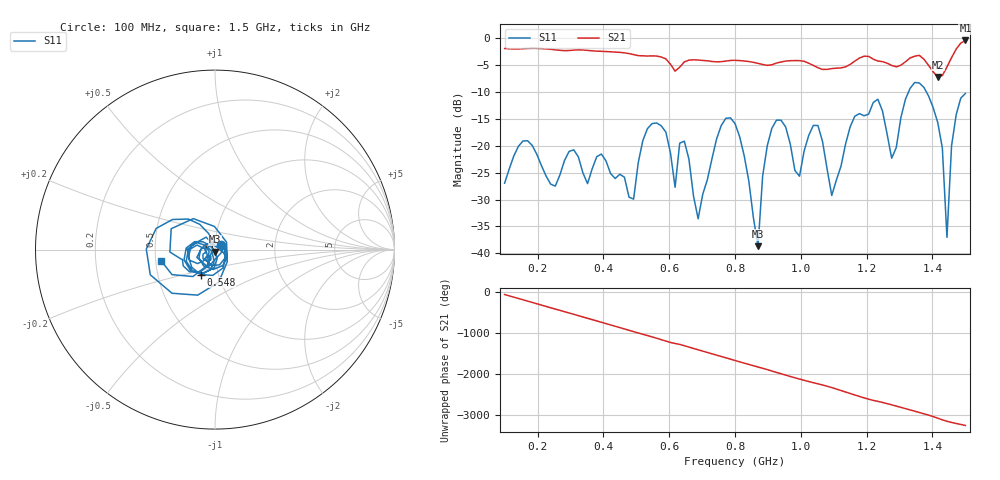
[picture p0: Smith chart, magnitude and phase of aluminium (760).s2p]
! NanoVNA-App
! Date: 2025-09-25 15:01:12
! Start: 100MHz Stop: 1,5GHz Points: 101
! S-Parameter data: F S11 S21 S12 S22
# Hz S RI R 50
!  Frequency  S11_Real  S11_Imag  S21_Real  S21_Imag  S12_Real  S12_Imag  S22_Real  S22_Imag
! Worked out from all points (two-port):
!   101 points, 100 MHz to 1.5 GHz, reference 50 ohm
!   highest |S21| = -0.43 dB at 1.5 GHz (marker M1); lowest = -7.2 dB at 1.416 GHz (marker M2)
!   |S21| within 3 dB of the highest: start of sweep to 570.1 MHz; 1.46 GHz to end of sweep (the widest 2 of 4)
!   lowest |S11| = -38.7 dB at 870 MHz (marker M3), VSWR 1.02, Z = 50 - j1.17 ohm
!   |S11| at or under -10 dB: start of sweep to 1.327 GHz; 1.381 GHz to end of sweep
!   S12 and S22 are empty: the file has one direction only
!   S11 on the Smith chart (normalised r, x): 100 MHz: 1.07, +0.06; 548 MHz: 0.82, -0.23; 1.5 GHz: 0.54, -0.08
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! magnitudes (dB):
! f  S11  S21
! 100 MHz  -27.0  -1.9
! 156 MHz  -19.1  -2.0
! 338 MHz  -25.1  -2.2
! 492 MHz  -29.9  -3.1
! 548 MHz  -15.9  -3.3
! 576 MHz  -16.3  -3.5
! 618 MHz  -27.7  -6.1
! 646 MHz  -19.2  -4.4
! 688 MHz  -33.6  -4.1
! 800 MHz  -15.9  -4.1
! 870 MHz  -38.7  -4.7
! 912 MHz  -16.8  -5.0
! 996 MHz  -25.7  -4.2
! 1.038 GHz  -16.2  -5.1
! 1.094 GHz  -29.2  -5.7
! 1.234 GHz  -11.4  -4.3
! 1.276 GHz  -22.3  -5.1
! 1.346 GHz  -8.2  -3.4
! 1.416 GHz  -15.7  -7.2
! 1.444 GHz  -37.0  -5.4
! 1.458 GHz  -20.0  -3.6
! 1.5 GHz  -10.3  -0.4
